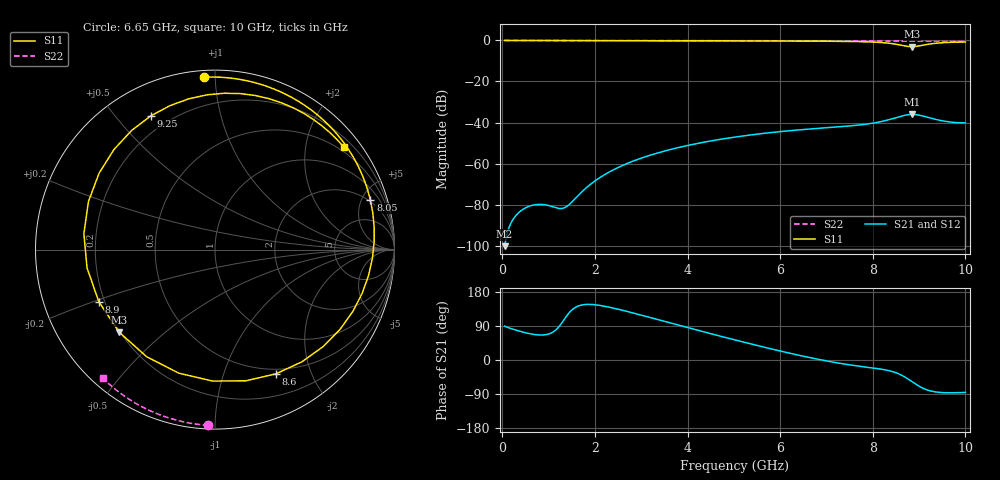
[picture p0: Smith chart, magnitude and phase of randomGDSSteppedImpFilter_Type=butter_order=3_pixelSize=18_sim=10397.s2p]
! freq	dB(S11)	phase(S11)	dB(S12)	phase(S12)
!  dB(S21)	phase(S21)	dB(S22)	phase(S22)
!S-par simulation data
#  GHz  S  DB  R 50
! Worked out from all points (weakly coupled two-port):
!   200 points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, 50 MHz to 10 GHz, reference 50 ohm
!   highest |S21| = -36.07 dB at 8.85 GHz (marker M1); lowest = -100.3 dB at 50 MHz (marker M2)
!   lowest |S11| = -3.0 dB at 8.85 GHz (marker M3), VSWR 5.78, Z = 9.8 - j17.9 ohm
!   |S11| at or under -10 dB: nowhere
!   |S22| runs from -0.4 to 0.0 dB; largest |S21 - S12| = 0
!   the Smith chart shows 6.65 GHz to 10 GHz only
!   S11 on the Smith chart (normalised r, x): 6.65 GHz: 0.04, +0.94; 8.05 GHz: 1.84, +5.84; 8.6 GHz: 0.44, -1.51; 8.9 GHz: 0.18, -0.21; 9.25 GHz: 0.13, +0.62; 10 GHz: 0.39, +2.81
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0.05  -0.00 -3.2  -100.28 89.4  -100.28 89.4  -0.00 -0.8
0.9  -0.07 -54.6  -80.05 66.2  -80.05 66.2  -0.02 -13.5
1.45  -0.09 -83.9  -79.90 125.5  -79.90 125.5  -0.03 -21.7
1.75  -0.11 -98.3  -73.11 145.9  -73.11 145.9  -0.03 -26.1
2.45  -0.12 -127.8  -62.48 135.5  -62.48 135.5  -0.05 -36.3
3.4  -0.15 -161.6  -54.55 105.3  -54.55 105.3  -0.07 -49.7
4.2  -0.18 173.1  -50.27 79.1  -50.27 79.1  -0.09 -60.7
5.05  -0.21 147.1  -47.01 52.2  -47.01 52.2  -0.11 -72.0
5.9  -0.27 120.1  -44.67 26.6  -44.67 26.6  -0.14 -82.9
6.65  -0.33 93.5  -43.15 6.1  -43.15 6.1  -0.18 -92.2
6.7  -0.34 91.6  -43.06 4.8  -43.06 4.8  -0.18 -92.8
7.45  -0.48 58.1  -41.76 -11.9  -41.76 -11.9  -0.22 -101.8
8.05  -0.83 17.7  -40.14 -21.9  -40.14 -21.9  -0.26 -108.9
8.35  -1.35 -16.4  -38.62 -28.1  -38.62 -28.1  -0.29 -112.3
8.6  -2.26 -64.0  -36.99 -38.8  -36.99 -38.8  -0.31 -115.2
8.75  -2.88 -106.4  -36.24 -49.3  -36.24 -49.3  -0.32 -116.9
8.85  -3.04 -139.2  -36.07 -57.5  -36.07 -57.5  -0.33 -118.1
8.9  -2.98 -155.8  -36.10 -61.6  -36.10 -61.6  -0.33 -118.6
9.05  -2.45 159.2  -36.64 -72.5  -36.64 -72.5  -0.35 -120.3
9.25  -1.66 115.7  -37.84 -81.7  -37.84 -81.7  -0.37 -122.6
9.55  -1.04 75.4  -39.37 -86.3  -39.37 -86.3  -0.39 -126.0
10  -0.75 38.6  -40.19 -85.6  -40.19 -85.6  -0.44 -131.0
